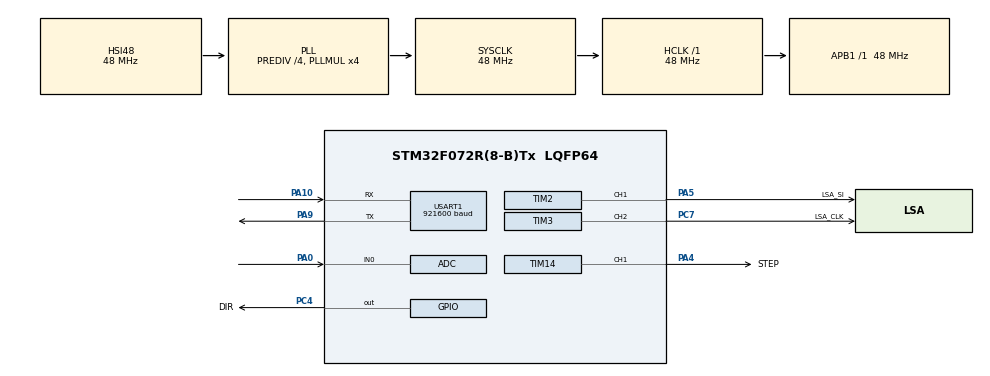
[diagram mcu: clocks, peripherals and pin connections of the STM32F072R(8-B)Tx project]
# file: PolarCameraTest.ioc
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ADC.Channel-3\#ChannelRegularConversion=ADC_CHANNEL_0
ADC.ClockPrescaler=ADC_CLOCK_SYNC_PCLK_DIV2
ADC.DiscontinuousConvMode=DISABLE
ADC.ExternalTrigConv=ADC_EXTERNALTRIGCONV_T1_TRGO
ADC.ExternalTrigConvEdge=ADC_EXTERNALTRIGCONVEDGE_RISING
ADC.NbrOfConversion=1
ADC.NbrOfConversionFlag=1
ADC.Overrun=OVR_DATA_OVERWRITTEN
ADC.Rank-3\#ChannelRegularConversion=1
ADC.Resolution=ADC_RESOLUTION8b
ADC.SamplingTime-3\#ChannelRegularConversion=ADC_SAMPLETIME_7CYCLES_5
Dma.Request0=USART1_TX
Dma.USART1_TX.0.Direction=DMA_MEMORY_TO_PERIPH
Dma.USART1_TX.0.Instance=DMA1_Channel2
Dma.USART1_TX.0.MemDataAlignment=DMA_MDATAALIGN_BYTE
Dma.USART1_TX.0.MemInc=DMA_MINC_ENABLE
Dma.USART1_TX.0.Mode=DMA_NORMAL
Dma.USART1_TX.0.PeriphDataAlignment=DMA_PDATAALIGN_BYTE
Dma.USART1_TX.0.PeriphInc=DMA_PINC_DISABLE
Dma.USART1_TX.0.Priority=DMA_PRIORITY_LOW
Mcu.Family=STM32F0
Mcu.Name=STM32F072R(8-B)Tx
Mcu.Package=LQFP64
NVIC.ADC1_COMP_IRQn=true\:3\:0\:true
NVIC.DMA1_Channel2_3_IRQn=true\:1\:0\:true
NVIC.TIM2_IRQn=true\:2\:0\:true
NVIC.USART1_IRQn=true\:1\:0\:true
PA0.Mode=IN0
PA0.Signal=ADC_IN0
PA10.GPIO_Mode=GPIO_MODE_AF_PP
PA10.GPIO_PuPd=GPIO_PULLUP
PA10.GPIO_Speed=GPIO_SPEED_HIGH
PA10.Mode=Asynchronous
PA10.Signal=USART1_RX
PA4.GPIO_Label=STEP
PA4.GPIO_ModeDefaultPP=GPIO_MODE_AF_PP
PA4.GPIO_PuPd=GPIO_PULLUP
PA4.GPIO_Speed=GPIO_SPEED_LOW
PA4.Signal=S_TIM14_CH1
PA5.GPIO_Label=LSA_SI
PA5.GPIO_ModeDefaultPP=GPIO_MODE_AF_PP
PA5.GPIO_PuPd=GPIO_PULLDOWN
PA5.GPIO_Speed=GPIO_SPEED_MEDIUM
PA5.Signal=S_TIM2_CH1_ETR
PA7.GPIO_Label=LSA_IN
PA7.GPIO_Mode=GPIO_MODE_ANALOG
PA7.GPIO_PuPd=GPIO_NOPULL
PA7.Signal=ADC_IN7
PA9.GPIO_Mode=GPIO_MODE_AF_PP
PA9.GPIO_PuPd=GPIO_PULLUP
PA9.GPIO_Speed=GPIO_SPEED_HIGH
PA9.Mode=Asynchronous
PA9.Signal=USART1_TX
PC4.GPIO_Label=DIR
PC4.GPIO_ModeDefaultOutputPP=GPIO_MODE_OUTPUT_PP
PC4.GPIO_PuPd=GPIO_PULLUP
PC4.GPIO_Speed=GPIO_SPEED_LOW
PC4.Signal=GPIO_Output
PC7.GPIO_Label=LSA_CLK
PC7.GPIO_ModeDefaultPP=GPIO_MODE_AF_PP
PC7.GPIO_PuPd=GPIO_NOPULL
PC7.GPIO_Speed=GPIO_SPEED_LOW
PC7.Signal=S_TIM3_CH2
ProjectManager.TargetToolchain=MDK-ARM 4.73
RCC.AHBFreq_Value=48000000
RCC.APB1Freq_Value=48000000
RCC.APB1TimFreq_Value=48000000
RCC.DATA_CACHE_ENABLE=0
RCC.HCLKFreq_Value=48000000
RCC.HSIState=RCC_HSI_ON
RCC.PLLDivider=RCC_PREDIV_DIV4
RCC.PLLMUL=RCC_PLL_MUL4
RCC.PLLSourceVirtual=RCC_PLLSOURCE_HSI48
RCC.SYSCLKFreq_VALUE=48000000
RCC.SYSCLKSource=RCC_SYSCLKSOURCE_PLLCLK
SH.S_TIM14_CH1.0=TIM14_CH1,PWM Generation1 CH1
SH.S_TIM2_CH1_ETR.0=TIM2_CH1,PWM Generation1 CH1
SH.S_TIM3_CH2.0=TIM3_CH2,PWM Generation2 CH2
TIM1.Period=79
TIM1.Prescaler=23
TIM1.TIM_MasterOutputTrigger=TIM_TRGO_UPDATE
TIM14.Period=23839
TIM14.Prescaler=23
TIM14.Pulse-PWM\ Generation1\ CH1=11920
TIM2.OCFastMode_PWM-PWM\ Generation1\ CH1=TIM_OCFAST_ENABLE
TIM2.Period=11919
TIM2.Prescaler=23
TIM2.Pulse-PWM\ Generation1\ CH1=40
TIM2.TIM_MasterOutputTrigger=TIM_TRGO_UPDATE
TIM3.Channel-PWM\ Generation2\ CH2=TIM_CHANNEL_2
TIM3.OCFastMode_PWM-PWM\ Generation2\ CH2=TIM_OCFAST_ENABLE
TIM3.Period=79
TIM3.Prescaler=23
TIM3.Pulse-PWM\ Generation2\ CH2=40
TIM3.TIM_MasterOutputTrigger=TIM_TRGO_UPDATE
TIM3.TIM_MasterSlaveMode=TIM_MASTERSLAVEMODE_DISABLE
USART1.BaudRate=921600
USART1.Mode-Asynchronous=UART_MODE_TX_RX
USART1.WordLength-Asynchronous=UART_WORDLENGTH_8B
VP_TIM14_VS_ClockSourceINT.Mode=Enable_Timer
VP_TIM1_VS_ClockSourceINT.Mode=Internal
VP_TIM2_VS_ClockSourceINT.Mode=Internal
VP_TIM3_VS_ClockSourceINT.Mode=Internal

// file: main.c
/**
  ******************************************************************************
  * File Name          : main.c
  * Date               : 16/08/2015 00:57:59
  * Description        : Main program body
  ******************************************************************************
  *
  * COPYRIGHT(c) 2015 STMicroelectronics
  *
  * Redistribution and use in source and binary forms, with or without modification,
  * are permitted provided that the following conditions are met:
  *   1. Redistributions of source code must retain the above copyright notice,
  *      this list of conditions and the following disclaimer.
  *   2. Redistributions in binary form must reproduce the above copyright notice,
  *      this list of conditions and the following disclaimer in the documentation
  *      and/or other materials provided with the distribution.
  *   3. Neither the name of STMicroelectronics nor the names of its contributors
  *      may be used to endorse or promote products derived from this software
  *      without specific prior written permission.
  *
  * THIS SOFTWARE IS PROVIDED BY THE COPYRIGHT HOLDERS AND CONTRIBUTORS "AS IS"
  * AND ANY EXPRESS OR IMPLIED WARRANTIES, INCLUDING, BUT NOT LIMITED TO, THE
  * IMPLIED WARRANTIES OF MERCHANTABILITY AND FITNESS FOR A PARTICULAR PURPOSE ARE
  * DISCLAIMED. IN NO EVENT SHALL THE COPYRIGHT HOLDER OR CONTRIBUTORS BE LIABLE
  * FOR ANY DIRECT, INDIRECT, INCIDENTAL, SPECIAL, EXEMPLARY, OR CONSEQUENTIAL
  * DAMAGES (INCLUDING, BUT NOT LIMITED TO, PROCUREMENT OF SUBSTITUTE GOODS OR
  * SERVICES; LOSS OF USE, DATA, OR PROFITS; OR BUSINESS INTERRUPTION) HOWEVER
  * CAUSED AND ON ANY THEORY OF LIABILITY, WHETHER IN CONTRACT, STRICT LIABILITY,
  * OR TORT (INCLUDING NEGLIGENCE OR OTHERWISE) ARISING IN ANY WAY OUT OF THE USE
  * OF THIS SOFTWARE, EVEN IF ADVISED OF THE POSSIBILITY OF SUCH DAMAGE.
  *
  ******************************************************************************
  */

#include "stm32f0xx_hal.h"

ADC_HandleTypeDef hadc;

TIM_HandleTypeDef htim1;
TIM_HandleTypeDef htim2;
TIM_HandleTypeDef htim3;
TIM_HandleTypeDef htim14;

UART_HandleTypeDef huart1;
DMA_HandleTypeDef hdma_usart1_tx;

/* USER CODE BEGIN PV */
uint8_t samCount = 0; // sample count
uint8_t sensorVal[128] = {0};
uint8_t txFlag = 0;
uint8_t rxCmd = 0x00;
/* USER CODE END PV */

void SystemClock_Config(void);
static void MX_GPIO_Init(void);
static void MX_DMA_Init(void);
static void MX_ADC_Init(void);
static void MX_TIM1_Init(void);
static void MX_TIM2_Init(void);
static void MX_TIM3_Init(void);
static void MX_TIM14_Init(void);
static void MX_USART1_UART_Init(void);

int main(void)
{

  /* MCU Configuration----------------------------------------------------------*/

  /* Reset of all peripherals, Initializes the Flash interface and the Systick. */
  HAL_Init();

  /* Configure the system clock */
  SystemClock_Config();

  /* Initialize all configured peripherals */
  MX_GPIO_Init();
  MX_DMA_Init();
  MX_ADC_Init();
  MX_TIM1_Init();
  MX_TIM2_Init();
  MX_TIM3_Init();
  MX_TIM14_Init();
  MX_USART1_UART_Init();

  /* USER CODE BEGIN 2 */
	HAL_TIM_PWM_Start(&htim3, TIM_CHANNEL_2); // LSA_CLK
	while(__HAL_TIM_GetCounter(&htim3) != 40); // synchronize to TIM3 falling edge
	HAL_TIM_Base_Start(&htim1); // timebase for ADC
	while(__HAL_TIM_GetCounter(&htim3) != 60); // synchronize to just after TIM3 falling edge
	HAL_TIM_PWM_Start_IT(&htim2, TIM_CHANNEL_1); // LSA_SI
	while(__HAL_TIM_GetCounter(&htim2) != 60); // synchronize to just after the start of the no integration period
	HAL_TIM_PWM_Start(&htim14, TIM_CHANNEL_1); // Stepper_STEP

	HAL_ADC_Start_IT(&hadc);
  /* USER CODE END 2 */

  /* USER CODE BEGIN 3 */
  /* Infinite loop */
  while (1)
  {
		if(txFlag) {
			while(rxCmd != 's') {
				HAL_UART_Receive(&huart1, &rxCmd, 1, 10);
			}
			HAL_UART_Transmit_DMA(&huart1, sensorVal, 128);
			rxCmd = 0x00;
			txFlag = 0;
		}
  }
  /* USER CODE END 3 */

}

/** System Clock Configuration
*/
void SystemClock_Config(void)
{

  RCC_OscInitTypeDef RCC_OscInitStruct;
  RCC_ClkInitTypeDef RCC_ClkInitStruct;
  RCC_PeriphCLKInitTypeDef PeriphClkInit;

  RCC_OscInitStruct.OscillatorType = RCC_OSCILLATORTYPE_HSI48;
  RCC_OscInitStruct.HSI48State = RCC_HSI48_ON;
  RCC_OscInitStruct.PLL.PLLState = RCC_PLL_ON;
  RCC_OscInitStruct.PLL.PLLSource = RCC_PLLSOURCE_HSI48;
  RCC_OscInitStruct.PLL.PLLMUL = RCC_PLL_MUL4;
  RCC_OscInitStruct.PLL.PREDIV = RCC_PREDIV_DIV4;
  HAL_RCC_OscConfig(&RCC_OscInitStruct);

  RCC_ClkInitStruct.ClockType = RCC_CLOCKTYPE_SYSCLK;
  RCC_ClkInitStruct.SYSCLKSource = RCC_SYSCLKSOURCE_PLLCLK;
  RCC_ClkInitStruct.AHBCLKDivider = RCC_SYSCLK_DIV1;
  RCC_ClkInitStruct.APB1CLKDivider = RCC_HCLK_DIV1;
  HAL_RCC_ClockConfig(&RCC_ClkInitStruct, FLASH_LATENCY_1);

  PeriphClkInit.PeriphClockSelection = RCC_PERIPHCLK_USART1;
  PeriphClkInit.Usart1ClockSelection = RCC_USART1CLKSOURCE_PCLK1;
  HAL_RCCEx_PeriphCLKConfig(&PeriphClkInit);

  __SYSCFG_CLK_ENABLE();

}

/* ADC init function */
void MX_ADC_Init(void)
{

  ADC_ChannelConfTypeDef sConfig;

    /**Configure the global features of the ADC (Clock, Resolution, Data Alignment and number of conversion)
    */
  hadc.Instance = ADC1;
  hadc.Init.ClockPrescaler = ADC_CLOCK_SYNC_PCLK_DIV2;
  hadc.Init.Resolution = ADC_RESOLUTION8b;
  hadc.Init.DataAlign = ADC_DATAALIGN_RIGHT;
  hadc.Init.ScanConvMode = ADC_SCAN_DIRECTION_FORWARD;
  hadc.Init.EOCSelection = EOC_SINGLE_CONV;
  hadc.Init.LowPowerAutoWait = DISABLE;
  hadc.Init.LowPowerAutoPowerOff = DISABLE;
  hadc.Init.ContinuousConvMode = DISABLE;
  hadc.Init.DiscontinuousConvMode = DISABLE;
  hadc.Init.ExternalTrigConv = ADC_EXTERNALTRIGCONV_T1_TRGO;
  hadc.Init.ExternalTrigConvEdge = ADC_EXTERNALTRIGCONVEDGE_RISING;
  hadc.Init.DMAContinuousRequests = DISABLE;
  hadc.Init.Overrun = OVR_DATA_OVERWRITTEN;
  HAL_ADC_Init(&hadc);

    /**Configure for the selected ADC regular channel to be converted.
    */
  sConfig.Channel = ADC_CHANNEL_0;
  sConfig.Rank = 1;
  sConfig.SamplingTime = ADC_SAMPLETIME_7CYCLES_5;
  HAL_ADC_ConfigChannel(&hadc, &sConfig);

}

/* TIM1 init function */
void MX_TIM1_Init(void)
{

  TIM_ClockConfigTypeDef sClockSourceConfig;
  TIM_MasterConfigTypeDef sMasterConfig;

  htim1.Instance = TIM1;
  htim1.Init.Prescaler = 191;
  htim1.Init.CounterMode = TIM_COUNTERMODE_UP;
  htim1.Init.Period = 79;
  htim1.Init.ClockDivision = TIM_CLOCKDIVISION_DIV1;
  htim1.Init.RepetitionCounter = 0;
  HAL_TIM_Base_Init(&htim1);

  sClockSourceConfig.ClockSource = TIM_CLOCKSOURCE_INTERNAL;
  HAL_TIM_ConfigClockSource(&htim1, &sClockSourceConfig);

  sMasterConfig.MasterOutputTrigger = TIM_TRGO_UPDATE;
  sMasterConfig.MasterSlaveMode = TIM_MASTERSLAVEMODE_DISABLE;
  HAL_TIMEx_MasterConfigSynchronization(&htim1, &sMasterConfig);

}

/* TIM2 init function */
void MX_TIM2_Init(void)
{

  TIM_ClockConfigTypeDef sClockSourceConfig;
  TIM_MasterConfigTypeDef sMasterConfig;
  TIM_OC_InitTypeDef sConfigOC;

  htim2.Instance = TIM2;
  htim2.Init.Prescaler = 191;
  htim2.Init.CounterMode = TIM_COUNTERMODE_UP;
  htim2.Init.Period = 32719;
  htim2.Init.ClockDivision = TIM_CLOCKDIVISION_DIV1;
  HAL_TIM_Base_Init(&htim2);

  sClockSourceConfig.ClockSource = TIM_CLOCKSOURCE_INTERNAL;
  HAL_TIM_ConfigClockSource(&htim2, &sClockSourceConfig);

  HAL_TIM_PWM_Init(&htim2);

  sMasterConfig.MasterOutputTrigger = TIM_TRGO_UPDATE;
  sMasterConfig.MasterSlaveMode = TIM_MASTERSLAVEMODE_DISABLE;
  HAL_TIMEx_MasterConfigSynchronization(&htim2, &sMasterConfig);

  sConfigOC.OCMode = TIM_OCMODE_PWM1;
  sConfigOC.Pulse = 40;
  sConfigOC.OCPolarity = TIM_OCPOLARITY_HIGH;
  sConfigOC.OCFastMode = TIM_OCFAST_ENABLE;
  HAL_TIM_PWM_ConfigChannel(&htim2, &sConfigOC, TIM_CHANNEL_1);

}

/* TIM3 init function */
void MX_TIM3_Init(void)
{

  TIM_ClockConfigTypeDef sClockSourceConfig;
  TIM_MasterConfigTypeDef sMasterConfig;
  TIM_OC_InitTypeDef sConfigOC;

  htim3.Instance = TIM3;
  htim3.Init.Prescaler = 191;
  htim3.Init.CounterMode = TIM_COUNTERMODE_UP;
  htim3.Init.Period = 79;
  htim3.Init.ClockDivision = TIM_CLOCKDIVISION_DIV1;
  HAL_TIM_Base_Init(&htim3);

  sClockSourceConfig.ClockSource = TIM_CLOCKSOURCE_INTERNAL;
  HAL_TIM_ConfigClockSource(&htim3, &sClockSourceConfig);

  HAL_TIM_PWM_Init(&htim3);

  sMasterConfig.MasterOutputTrigger = TIM_TRGO_UPDATE;
  sMasterConfig.MasterSlaveMode = TIM_MASTERSLAVEMODE_DISABLE;
  HAL_TIMEx_MasterConfigSynchronization(&htim3, &sMasterConfig);

  sConfigOC.OCMode = TIM_OCMODE_PWM1;
  sConfigOC.Pulse = 40;
  sConfigOC.OCPolarity = TIM_OCPOLARITY_HIGH;
  sConfigOC.OCFastMode = TIM_OCFAST_ENABLE;
  HAL_TIM_PWM_ConfigChannel(&htim3, &sConfigOC, TIM_CHANNEL_2);

}

/* TIM14 init function */
void MX_TIM14_Init(void)
{

  TIM_OC_InitTypeDef sConfigOC;

  htim14.Instance = TIM14;
  htim14.Init.Prescaler = 191;
  htim14.Init.CounterMode = TIM_COUNTERMODE_UP;
  htim14.Init.Period = 32719;
  htim14.Init.ClockDivision = TIM_CLOCKDIVISION_DIV1;
  HAL_TIM_Base_Init(&htim14);

  HAL_TIM_PWM_Init(&htim14);

  sConfigOC.OCMode = TIM_OCMODE_PWM1;
  sConfigOC.Pulse = 16360;
  sConfigOC.OCPolarity = TIM_OCPOLARITY_HIGH;
  sConfigOC.OCFastMode = TIM_OCFAST_DISABLE;
  HAL_TIM_PWM_ConfigChannel(&htim14, &sConfigOC, TIM_CHANNEL_1);

}

/* USART1 init function */
void MX_USART1_UART_Init(void)
{

  huart1.Instance = USART1;
  huart1.Init.BaudRate = 921600;
  huart1.Init.WordLength = UART_WORDLENGTH_8B;
  huart1.Init.StopBits = UART_STOPBITS_1;
  huart1.Init.Parity = UART_PARITY_NONE;
  huart1.Init.Mode = UART_MODE_TX_RX;
  huart1.Init.HwFlowCtl = UART_HWCONTROL_NONE;
  huart1.Init.OverSampling = UART_OVERSAMPLING_16;
  huart1.Init.OneBitSampling = UART_ONEBIT_SAMPLING_DISABLED ;
  huart1.AdvancedInit.AdvFeatureInit = UART_ADVFEATURE_NO_INIT;
  HAL_UART_Init(&huart1);

}

void MX_DMA_Init(void)
{
  /* DMA controller clock enable */
  __DMA1_CLK_ENABLE();

  /* DMA interrupt init */
  HAL_NVIC_SetPriority(DMA1_Channel2_3_IRQn, 1, 0);
  HAL_NVIC_EnableIRQ(DMA1_Channel2_3_IRQn);

}

/** Configure pins as
        * Analog
        * Input
        * Output
        * EVENT_OUT
        * EXTI
*/
void MX_GPIO_Init(void)
{

  GPIO_InitTypeDef GPIO_InitStruct;

  /* GPIO Ports Clock Enable */
  __GPIOA_CLK_ENABLE();
  __GPIOC_CLK_ENABLE();

  /*Configure GPIO pin : PC4 */
  GPIO_InitStruct.Pin = GPIO_PIN_4;
  GPIO_InitStruct.Mode = GPIO_MODE_OUTPUT_PP;
  GPIO_InitStruct.Pull = GPIO_PULLUP;
  GPIO_InitStruct.Speed = GPIO_SPEED_LOW;
  HAL_GPIO_Init(GPIOC, &GPIO_InitStruct);

}

/* USER CODE BEGIN 4 */

void HAL_ADC_ConvCpltCallback(ADC_HandleTypeDef* hadc) {
	if(samCount < 128) {
		// HAL_GPIO_TogglePin(GPIOC, GPIO_PIN_4);
		sensorVal[samCount] = HAL_ADC_GetValue(hadc); // read the sensor
		// sensorVal[samCount] = 0;
		samCount++; // increase samCount
	} else if(samCount == 128) {
		txFlag = 1; // signal to the main function that we're ready to TX a line
		samCount++; // increase samCount to stop the flag from going up again
	}
}

void HAL_TIM_PWM_PulseFinishedCallback(TIM_HandleTypeDef *htim) {
	if(htim == &htim2) {
		samCount = 0; // we're scanning a new line so reset the sample counter
	}
}

/* USER CODE END 4 */

/************************ (C) COPYRIGHT STMicroelectronics *****END OF FILE****/
